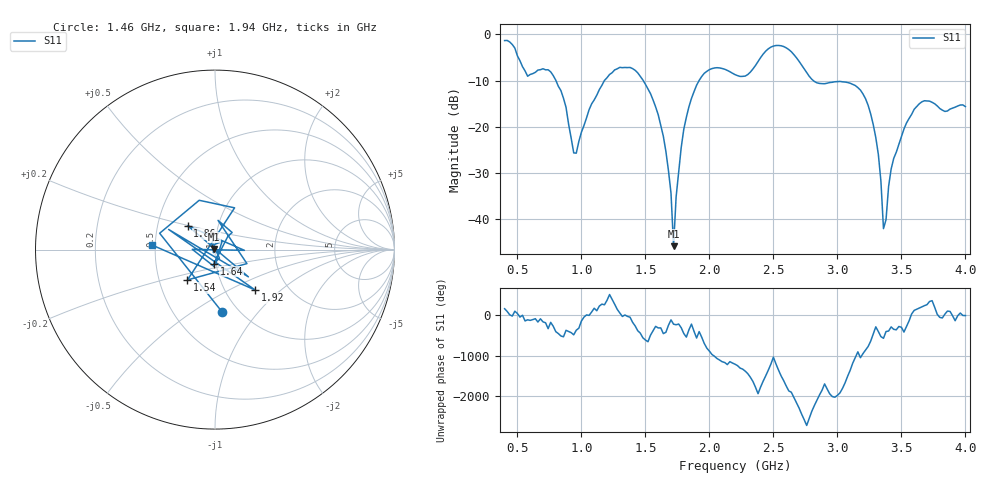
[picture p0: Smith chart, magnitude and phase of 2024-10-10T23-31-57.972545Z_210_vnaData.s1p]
! Created with skrf (http://scikit-rf.org).
# Hz S RI R 50.0
!freq ReS11 ImS11
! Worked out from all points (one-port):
!   181 points, 400 MHz to 4 GHz, reference 50 ohm
!   lowest |S11| = -45.9 dB at 1.72 GHz (marker M1), VSWR 1.01, Z = 49.6 + j0.34 ohm
!   |S11| at or under -10 dB: 801 MHz to 1.18 GHz (378.6 MHz wide, 38.2 % of centre); 1.483 GHz to 1.919 GHz (436.2 MHz wide, 25.6 % of centre); 2.812 GHz to end of sweep
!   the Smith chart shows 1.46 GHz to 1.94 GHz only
!   S11 on the Smith chart (normalised r, x): 1.46 GHz: 0.84, -0.67; 1.54 GHz: 0.70, -0.25; 1.64 GHz: 0.98, -0.15; 1.86 GHz: 0.71, +0.20; 1.92 GHz: 1.38, -0.69; 1.94 GHz: 0.48, +0.03
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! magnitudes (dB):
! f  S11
! 400 MHz  -1.3
! 580 MHz  -9.1
! 760 MHz  -8.1
! 860 MHz  -13.8
! 960 MHz  -25.7
! 1.08 GHz  -15.0
! 1.3 GHz  -7.1
! 1.46 GHz  -9.1
! 1.54 GHz  -12.8
! 1.64 GHz  -22.1
! 1.7 GHz  -34.4
! 1.72 GHz  -45.9
! 1.76 GHz  -29.9
! 1.86 GHz  -13.9
! 1.92 GHz  -10.0
! 1.94 GHz  -9.1
! 2.2 GHz  -8.7
! 2.5 GHz  -2.5
! 2.66 GHz  -4.4
! 2.84 GHz  -10.5
! 3.1 GHz  -10.6
! 3.28 GHz  -19.5
! 3.32 GHz  -26.0
! 3.36 GHz  -42.1
! 3.42 GHz  -29.2
! 3.56 GHz  -18.2
! 3.68 GHz  -14.4
! 4 GHz  -15.6
